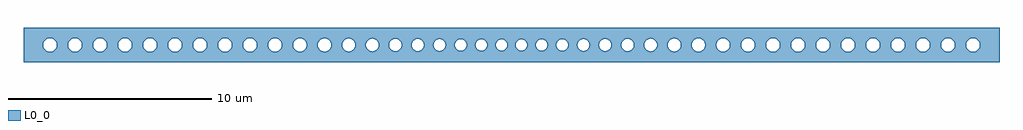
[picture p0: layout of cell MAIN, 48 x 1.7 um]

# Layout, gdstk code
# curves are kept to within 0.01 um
import gdstk
lib = gdstk.Library(unit=1e-6, precision=1e-09)
def P(c, l, *ps):  # polygons
    for p in ps: c.add(gdstk.Polygon(p, *l))
L0_0 = (0, 0)

main = lib.new_cell('MAIN')
P(main, L0_0, [(-23.039,0.005),(-23.022,0.108),(-22.948,0.233),(-22.848,0.308),(-22.722,0.342),(-22.722,0.85),(-24,0.85),(-24,0)],
  [(-22.712,0.342),(-22.598,0.329),(-22.487,0.272),(-22.398,0.17),(-22.357,0.047),(-22.357,0.85),(-22.722,0.85)],
  [(-22.357,-0.047),(-22.398,-0.17),(-22.487,-0.272),(-22.598,-0.329),(-22.722,-0.342),(-22.722,-0.85),(-22.357,-0.85)],
  [(24,0.85),(22.717,0.85),(22.717,0.342),(22.848,0.308),(22.948,0.233),(23.022,0.108),(23.039,0),(24,0)],
  [(-21.529,0.337),(-21.409,0.338),(-21.283,0.29),(-21.189,0.201),(-21.137,0.093),(-21.137,0.85),(-21.539,0.85),(-21.539,0.335)],
  [(-21.137,-0.093),(-21.189,-0.201),(-21.283,-0.29),(-21.42,-0.34),(-21.539,-0.335),(-21.539,-0.85),(-21.137,-0.85)],
  [(-21.809,0.005),(-21.789,0.118),(-21.729,0.221),(-21.637,0.298),(-21.539,0.335),(-21.539,0.85),(-22.357,0.85),(-22.353,0)],
  [(-20.35,0.324),(-20.227,0.343),(-20.095,0.312),(-19.993,0.241),(-19.925,0.142),(-19.925,0.85),(-20.36,0.85),(-20.36,0.32)],
  [(-19.925,-0.142),(-20.008,-0.255),(-20.124,-0.324),(-20.248,-0.343),(-20.36,-0.32),(-20.36,-0.85),(-19.925,-0.85)],
  [(-20.58,0.005),(-20.563,0.108),(-20.515,0.201),(-20.446,0.272),(-20.36,0.32),(-20.36,0.85),(-21.137,0.85),(-21.137,0.093),(-21.124,0)],
  [(-19.164,0.305),(-19.034,0.342),(-18.91,0.329),(-18.799,0.272),(-18.718,0.183),(-18.718,0.85),(-19.173,0.85)],
  [(-18.718,-0.183),(-18.811,-0.281),(-18.925,-0.333),(-19.055,-0.34),(-19.173,-0.3),(-19.173,-0.85),(-18.718,-0.85)],
  [(-19.351,0.005),(-19.338,0.093),(-19.306,0.17),(-19.245,0.248),(-19.173,0.3),(-19.173,0.85),(-19.925,0.85),(-19.925,0.142),(-19.894,0)],
  [(-17.979,0.278),(-17.861,0.333),(-17.732,0.34),(-17.627,0.308),(-17.52,0.225),(-17.52,0.85),(-17.987,0.85)],
  [(-17.52,-0.225),(-17.627,-0.308),(-17.732,-0.34),(-17.861,-0.333),(-17.987,-0.272),(-17.987,-0.85),(-17.52,-0.85)],
  [(-18.121,0.005),(-18.084,0.156),(-17.987,0.272),(-17.987,0.85),(-18.718,0.85),(-18.718,0.183),(-18.679,0.098),(-18.665,0)],
  [(-16.79,0.244),(-16.696,0.31),(-16.559,0.343),(-16.436,0.324),(-16.324,0.258),(-16.324,0.85),(-16.793,0.85)],
  [(-16.324,-0.258),(-16.436,-0.324),(-16.559,-0.343),(-16.696,-0.31),(-16.793,-0.241),(-16.793,-0.85),(-16.324,-0.85)],
  [(-16.892,0.005),(-16.867,0.128),(-16.793,0.241),(-16.793,0.85),(-17.52,0.85),(-17.52,0.225),(-17.456,0.118),(-17.436,0)],
  [(-15.594,0.205),(-15.503,0.29),(-15.372,0.339),(-15.237,0.333),(-15.136,0.29),(-15.136,0.85),(-15.597,0.85)],
  [(-15.136,-0.29),(-15.237,-0.333),(-15.372,-0.339),(-15.503,-0.29),(-15.597,-0.201),(-15.597,-0.85),(-15.136,-0.85)],
  [(-15.662,0.005),(-15.647,0.103),(-15.597,0.201),(-15.597,0.85),(-16.324,0.85),(-16.324,0.258),(-16.239,0.147),(-16.206,0)],
  [(-14.39,0.165),(-14.299,0.272),(-14.188,0.329),(-14.064,0.342),(-13.948,0.312),(-13.948,0.85),(-14.393,0.85)],
  [(-13.948,-0.312),(-14.08,-0.343),(-14.203,-0.324),(-14.311,-0.262),(-14.393,-0.161),(-14.393,-0.85),(-13.948,-0.85)],
  [(-14.433,0.005),(-14.393,0.161),(-14.393,0.85),(-15.136,0.85),(-15.136,0.29),(-15.075,0.241),(-15.014,0.156),(-14.977,0)],
  [(-13.183,0.118),(-13.109,0.237),(-13.012,0.308),(-12.887,0.342),(-12.768,0.33),(-12.768,0.85),(-13.184,0.85)],
  [(-12.768,-0.33),(-12.887,-0.342),(-13.012,-0.308),(-13.109,-0.237),(-13.184,-0.113),(-13.184,-0.85),(-12.768,-0.85)],
  [(-13.203,0.005),(-13.184,0.113),(-13.184,0.85),(-13.948,0.85),(-13.948,0.312),(-13.869,0.262),(-13.803,0.188),(-13.757,0.083),(-13.747,0)],
  [(-11.965,0.072),(-11.92,0.183),(-11.823,0.283),(-11.714,0.332),(-11.584,0.338),(-11.584,0.85),(-11.966,0.85)],
  [(-11.584,-0.338),(-11.714,-0.332),(-11.84,-0.271),(-11.92,-0.183),(-11.966,-0.067),(-11.966,-0.85),(-11.584,-0.85)],
  [(-11.973,0.005),(-11.966,0.85),(-12.768,0.85),(-12.768,0.33),(-12.677,0.29),(-12.595,0.217),(-12.542,0.128),(-12.518,0)],
  [(-10.745,0.021),(-10.713,0.146),(-10.64,0.246),(-10.541,0.311),(-10.409,0.339),(-10.409,0.85),(-10.745,0.85)],
  [(-10.409,-0.339),(-10.541,-0.311),(-10.64,-0.246),(-10.713,-0.146),(-10.745,-0.016),(-10.745,-0.85),(-10.409,-0.85)],
  [(-10.069,0.85),(-10.409,0.85),(-10.409,0.339),(-10.287,0.317),(-10.166,0.239),(-10.101,0.146),(-10.069,0.021)],
  [(-10.069,-0.021),(-10.101,-0.146),(-10.166,-0.239),(-10.287,-0.317),(-10.409,-0.339),(-10.409,-0.85),(-10.069,-0.85)],
  [(-10.745,0.005),(-10.745,0.85),(-11.584,0.85),(-11.584,0.338),(-11.48,0.307),(-11.37,0.221),(-11.31,0.117),(-11.29,0)],
  [(-9.228,0.332),(-9.106,0.322),(-8.991,0.264),(-8.915,0.181),(-8.868,0.062),(-8.868,0.85),(-9.239,0.85),(-9.239,0.331)],
  [(-8.868,-0.062),(-8.915,-0.181),(-8.991,-0.264),(-9.106,-0.322),(-9.239,-0.331),(-9.239,-0.85),(-8.868,-0.85)],
  [(-9.53,0.003),(-9.507,0.123),(-9.448,0.22),(-9.342,0.301),(-9.239,0.331),(-9.239,0.85),(-10.069,0.85),(-10.068,0)],
  [(-8.074,0.321),(-7.952,0.324),(-7.837,0.281),(-7.746,0.2),(-7.69,0.086),(-7.69,0.85),(-8.084,0.85),(-8.084,0.319)],
  [(-7.69,-0.086),(-7.746,-0.2),(-7.842,-0.284),(-7.952,-0.324),(-8.084,-0.319),(-8.084,-0.85),(-7.69,-0.85)],
  [(-8.335,0.003),(-8.317,0.108),(-8.272,0.194),(-8.191,0.272),(-8.084,0.319),(-8.084,0.85),(-8.868,0.85),(-8.862,0)],
  [(-6.93,0.31),(-6.809,0.32),(-6.694,0.285),(-6.609,0.221),(-6.539,0.104),(-6.539,0.85),(-6.939,0.85)],
  [(-6.539,-0.104),(-6.609,-0.221),(-6.694,-0.285),(-6.819,-0.321),(-6.939,-0.307),(-6.939,-0.85),(-6.539,-0.85)],
  [(-7.165,0.003),(-7.147,0.107),(-7.108,0.183),(-7.026,0.265),(-6.939,0.307),(-6.939,0.85),(-7.69,0.85),(-7.679,0)],
  [(-5.809,0.298),(-5.706,0.315),(-5.58,0.287),(-5.479,0.214),(-5.414,0.108),(-5.414,0.85),(-5.819,0.85),(-5.819,0.295)],
  [(-5.414,-0.108),(-5.479,-0.214),(-5.58,-0.287),(-5.706,-0.315),(-5.819,-0.295),(-5.819,-0.85),(-5.414,-0.85)],
  [(-6.024,0.002),(-6.014,0.082),(-5.973,0.173),(-5.91,0.243),(-5.819,0.295),(-5.819,0.85),(-6.539,0.85),(-6.539,0.104),(-6.522,0)],
  [(-4.706,0.291),(-4.604,0.308),(-4.484,0.282),(-4.377,0.204),(-4.319,0.106),(-4.319,0.85),(-4.716,0.85),(-4.716,0.288)],
  [(-4.319,-0.106),(-4.377,-0.204),(-4.484,-0.282),(-4.604,-0.308),(-4.716,-0.288),(-4.716,-0.85),(-4.319,-0.85)],
  [(-4.916,0.002),(-4.901,0.095),(-4.859,0.178),(-4.809,0.233),(-4.716,0.288),(-4.716,0.85),(-5.414,0.85),(-5.414,0.108),(-5.395,0)],
  [(-3.627,0.287),(-3.511,0.3),(-3.394,0.265),(-3.307,0.194),(-3.25,0.087),(-3.25,0.85),(-3.636,0.85)],
  [(-3.25,-0.087),(-3.307,-0.194),(-3.394,-0.265),(-3.511,-0.3),(-3.636,-0.284),(-3.636,-0.85),(-3.25,-0.85)],
  [(-3.839,0.005),(-3.826,0.087),(-3.786,0.171),(-3.73,0.232),(-3.636,0.284),(-3.636,0.85),(-4.319,0.85),(-4.319,0.106),(-4.3,0)],
  [(-2.566,0.287),(-2.445,0.291),(-2.346,0.254),(-2.26,0.176),(-2.21,0.067),(-2.21,0.85),(-2.575,0.85)],
  [(-2.21,-0.067),(-2.26,-0.176),(-2.346,-0.254),(-2.445,-0.291),(-2.575,-0.285),(-2.575,-0.85),(-2.21,-0.85)],
  [(-2.792,0.002),(-2.776,0.097),(-2.727,0.186),(-2.667,0.242),(-2.575,0.285),(-2.575,0.85),(-3.25,0.85),(-3.25,0.087),(-3.237,0)],
  [(-1.526,0.287),(-1.412,0.282),(-1.308,0.232),(-1.232,0.147),(-1.194,0.034),(-1.194,0.85),(-1.535,0.85)],
  [(-1.194,-0.034),(-1.232,-0.147),(-1.32,-0.241),(-1.43,-0.286),(-1.535,-0.286),(-1.535,-0.85),(-1.194,-0.85)],
  [(-1.773,0.005),(-1.753,0.108),(-1.703,0.19),(-1.63,0.251),(-1.535,0.286),(-1.535,0.85),(-2.21,0.85),(-2.202,0)],
  [(-0.497,0.287),(-0.385,0.268),(-0.292,0.209),(-0.221,0.103),(-0.202,0),(-0.202,0.85),(-0.506,0.85)],
  [(-0.202,0),(-0.221,-0.103),(-0.292,-0.209),(-0.385,-0.268),(-0.506,-0.287),(-0.506,-0.85),(-0.202,-0.85)],
  [(0.202,0.005),(0.221,0.103),(0.292,0.209),(0.385,0.268),(0.506,0.287),(0.506,0.85),(-0.202,0.85),(-0.202,0)],
  [(0.506,-0.287),(0.385,-0.268),(0.292,-0.209),(0.221,-0.103),(0.202,0),(-0.202,0),(-0.202,-0.85),(0.506,-0.85)],
  [(-0.777,0.005),(-0.755,0.112),(-0.704,0.192),(-0.617,0.258),(-0.506,0.287),(-0.506,0.85),(-1.194,0.85),(-1.192,0)],
  [(1.195,0.038),(1.232,0.147),(1.32,0.241),(1.43,0.286),(1.535,0.286),(1.535,0.85),(1.194,0.85)],
  [(1.535,-0.286),(1.43,-0.286),(1.32,-0.241),(1.232,-0.147),(1.194,-0.034),(1.194,-0.85),(1.535,-0.85)],
  [(1.192,0.005),(1.194,0.85),(0.506,0.85),(0.506,0.287),(0.617,0.258),(0.704,0.192),(0.755,0.112),(0.777,0)],
  [(2.209,0.065),(2.253,0.166),(2.348,0.255),(2.467,0.294),(2.573,0.285),(2.573,0.85),(2.208,0.85)],
  [(2.573,-0.285),(2.467,-0.294),(2.348,-0.255),(2.253,-0.166),(2.208,-0.06),(2.208,-0.85),(2.573,-0.85)],
  [(2.202,0.002),(2.208,0.85),(1.535,0.85),(1.535,0.286),(1.63,0.251),(1.703,0.19),(1.753,0.108),(1.773,0)],
  [(3.251,0.092),(3.307,0.194),(3.394,0.265),(3.511,0.3),(3.636,0.284),(3.636,0.85),(3.25,0.85)],
  [(3.636,-0.284),(3.511,-0.3),(3.394,-0.265),(3.307,-0.194),(3.25,-0.087),(3.25,-0.85),(3.636,-0.85)],
  [(3.237,0.005),(3.25,0.087),(3.25,0.85),(2.573,0.85),(2.573,0.285),(2.661,0.246),(2.725,0.188),(2.777,0.095),(2.792,0)],
  [(4.319,0.104),(4.382,0.209),(4.482,0.281),(4.607,0.308),(4.713,0.289),(4.713,0.85),(4.317,0.85)],
  [(4.713,-0.289),(4.607,-0.308),(4.482,-0.281),(4.382,-0.209),(4.317,-0.099),(4.317,-0.85),(4.713,-0.85)],
  [(4.3,0.002),(4.317,0.099),(4.317,0.85),(3.636,0.85),(3.636,0.284),(3.73,0.232),(3.786,0.171),(3.826,0.087),(3.839,0)],
  [(5.415,0.11),(5.477,0.212),(5.582,0.288),(5.709,0.315),(5.817,0.296),(5.817,0.85),(5.414,0.85)],
  [(5.817,-0.296),(5.709,-0.315),(5.582,-0.288),(5.477,-0.212),(5.414,-0.105),(5.414,-0.85),(5.817,-0.85)],
  [(5.395,0.002),(5.414,0.105),(5.414,0.85),(4.713,0.85),(4.713,0.289),(4.807,0.235),(4.863,0.172),(4.903,0.088),(4.916,0)],
  [(6.538,0.102),(6.604,0.215),(6.696,0.286),(6.822,0.321),(6.937,0.308),(6.937,0.85),(6.537,0.85)],
  [(6.937,-0.308),(6.822,-0.321),(6.696,-0.286),(6.604,-0.215),(6.537,-0.097),(6.537,-0.85),(6.937,-0.85)],
  [(6.522,0.003),(6.537,0.097),(6.537,0.85),(5.817,0.85),(5.817,0.296),(5.908,0.245),(5.969,0.179),(6.012,0.089),(6.024,0)],
  [(7.691,0.088),(7.739,0.19),(7.835,0.28),(7.959,0.325),(8.081,0.32),(8.081,0.85),(7.689,0.85)],
  [(8.081,-0.32),(7.959,-0.325),(7.835,-0.28),(7.739,-0.19),(7.689,-0.083),(7.689,-0.85),(8.081,-0.85)],
  [(7.679,0.003),(7.689,0.85),(6.937,0.85),(6.937,0.308),(7.028,0.264),(7.097,0.198),(7.151,0.095),(7.165,0)],
  [(8.868,0.059),(8.911,0.174),(9.006,0.275),(9.113,0.324),(9.236,0.332),(9.236,0.85),(8.867,0.85)],
  [(9.236,-0.332),(9.113,-0.324),(8.998,-0.269),(8.903,-0.161),(8.867,-0.054),(8.867,-0.85),(9.236,-0.85)],
  [(8.862,0.003),(8.867,0.85),(8.081,0.85),(8.081,0.32),(8.185,0.276),(8.261,0.208),(8.321,0.096),(8.335,0)],
  [(10.069,0.026),(10.101,0.146),(10.181,0.253),(10.292,0.319),(10.409,0.339),(10.409,0.85),(10.069,0.85)],
  [(10.409,-0.339),(10.287,-0.317),(10.166,-0.239),(10.101,-0.146),(10.069,-0.021),(10.069,-0.85),(10.409,-0.85)],
  [(10.745,0.85),(10.409,0.85),(10.409,0.339),(10.541,0.311),(10.64,0.246),(10.713,0.146),(10.745,0.021)],
  [(10.745,-0.021),(10.713,-0.146),(10.64,-0.246),(10.541,-0.311),(10.409,-0.339),(10.409,-0.85),(10.745,-0.85)],
  [(10.068,0.005),(10.069,0.85),(9.236,0.85),(9.236,0.332),(9.34,0.302),(9.446,0.222),(9.508,0.121),(9.53,0)],
  [(11.595,0.34),(11.714,0.332),(11.84,0.271),(11.92,0.183),(11.966,0.067),(11.966,0.85),(11.584,0.85),(11.584,0.338)],
  [(11.966,-0.067),(11.92,-0.183),(11.84,-0.271),(11.714,-0.332),(11.584,-0.338),(11.584,-0.85),(11.966,-0.85)],
  [(11.29,0.005),(11.31,0.117),(11.37,0.221),(11.48,0.307),(11.584,0.338),(11.584,0.85),(10.745,0.85),(10.745,0)],
  [(12.778,0.333),(12.908,0.34),(13.031,0.298),(13.116,0.229),(13.183,0.118),(13.183,0.85),(12.768,0.85),(12.768,0.33)],
  [(13.183,-0.118),(13.109,-0.237),(13.012,-0.308),(12.887,-0.342),(12.768,-0.33),(12.768,-0.85),(13.183,-0.85)],
  [(12.518,0.005),(12.542,0.128),(12.595,0.217),(12.677,0.29),(12.768,0.33),(12.768,0.85),(11.966,0.85),(11.973,0)],
  [(13.958,0.316),(14.08,0.343),(14.203,0.324),(14.311,0.262),(14.393,0.161),(14.393,0.85),(13.948,0.85),(13.948,0.312)],
  [(14.393,-0.161),(14.311,-0.262),(14.203,-0.324),(14.08,-0.343),(13.948,-0.312),(13.948,-0.85),(14.393,-0.85)],
  [(13.747,0.005),(13.766,0.113),(13.803,0.188),(13.869,0.262),(13.948,0.312),(13.948,0.85),(13.183,0.85),(13.183,0.118),(13.203,0)],
  [(15.145,0.295),(15.273,0.34),(15.402,0.333),(15.503,0.29),(15.594,0.205),(15.594,0.85),(15.136,0.85)],
  [(15.594,-0.205),(15.503,-0.29),(15.372,-0.339),(15.237,-0.333),(15.136,-0.29),(15.136,-0.85),(15.594,-0.85)],
  [(14.977,0.005),(14.988,0.088),(15.024,0.174),(15.136,0.29),(15.136,0.85),(14.393,0.85),(14.393,0.161),(14.423,0.083),(14.433,0)],
  [(16.332,0.265),(16.436,0.324),(16.559,0.343),(16.696,0.31),(16.793,0.241),(16.793,0.85),(16.324,0.85)],
  [(16.793,-0.241),(16.696,-0.31),(16.559,-0.343),(16.436,-0.324),(16.324,-0.258),(16.324,-0.85),(16.793,-0.85)],
  [(16.206,0.005),(16.239,0.147),(16.324,0.258),(16.324,0.85),(15.594,0.85),(15.594,0.205),(15.647,0.103),(15.662,0)],
  [(17.523,0.229),(17.627,0.308),(17.732,0.34),(17.861,0.333),(17.983,0.275),(17.983,0.85),(17.52,0.85)],
  [(17.983,-0.275),(17.861,-0.333),(17.732,-0.34),(17.627,-0.308),(17.52,-0.225),(17.52,-0.85),(17.983,-0.85)],
  [(17.436,0.005),(17.456,0.118),(17.52,0.225),(17.52,0.85),(16.793,0.85),(16.793,0.241),(16.867,0.128),(16.892,0)],
  [(18.721,0.188),(18.811,0.281),(18.925,0.333),(19.055,0.34),(19.173,0.3),(19.173,0.85),(18.718,0.85)],
  [(19.173,-0.3),(19.055,-0.34),(18.925,-0.333),(18.811,-0.281),(18.718,-0.183),(18.718,-0.85),(19.173,-0.85)],
  [(18.665,0.005),(18.679,0.098),(18.718,0.183),(18.718,0.85),(17.983,0.85),(17.983,0.275),(18.084,0.156),(18.121,0)],
  [(19.927,0.147),(20.008,0.255),(20.124,0.324),(20.248,0.343),(20.355,0.322),(20.355,0.85),(19.925,0.85)],
  [(20.355,-0.322),(20.227,-0.343),(20.095,-0.312),(19.993,-0.241),(19.925,-0.142),(19.925,-0.85),(20.355,-0.85)],
  [(19.895,0.005),(19.925,0.142),(19.925,0.85),(19.173,0.85),(19.173,0.3),(19.245,0.248),(19.306,0.17),(19.342,0.078),(19.351,0)],
  [(21.138,0.098),(21.198,0.213),(21.283,0.29),(21.42,0.34),(21.539,0.335),(21.539,0.85),(21.137,0.85)],
  [(21.539,-0.335),(21.42,-0.34),(21.283,-0.29),(21.189,-0.201),(21.137,-0.093),(21.137,-0.85),(21.539,-0.85)],
  [(21.124,0.005),(21.137,0.093),(21.137,0.85),(20.355,0.85),(20.355,0.322),(20.446,0.272),(20.515,0.201),(20.563,0.108),(20.58,0)],
  [(22.357,0.052),(22.398,0.17),(22.487,0.272),(22.598,0.329),(22.717,0.342),(22.717,0.85),(22.357,0.85)],
  [(22.717,-0.342),(22.598,-0.329),(22.487,-0.272),(22.398,-0.17),(22.357,-0.047),(22.357,-0.85),(22.717,-0.85)],
  [(-22.722,-0.342),(-22.848,-0.308),(-22.948,-0.233),(-23.022,-0.108),(-23.039,0),(-24,0),(-24,-0.85),(-22.722,-0.85)],
  [(24,0),(23.039,0),(23.022,-0.108),(22.948,-0.233),(22.848,-0.308),(22.717,-0.342),(22.717,-0.85),(24,-0.85)],
  [(-21.539,-0.335),(-21.65,-0.29),(-21.742,-0.205),(-21.794,-0.103),(-21.81,0),(-22.353,0),(-22.357,-0.85),(-21.539,-0.85)],
  [(-20.36,-0.32),(-20.459,-0.262),(-20.524,-0.188),(-20.569,-0.088),(-20.58,0),(-21.124,0),(-21.137,-0.093),(-21.137,-0.85),(-20.36,-0.85)],
  [(-19.173,-0.3),(-19.245,-0.248),(-19.306,-0.17),(-19.342,-0.078),(-19.351,0),(-19.894,0),(-19.925,-0.142),(-19.925,-0.85),(-19.173,-0.85)],
  [(-17.987,-0.272),(-18.084,-0.156),(-18.121,0),(-18.665,0),(-18.679,-0.098),(-18.718,-0.183),(-18.718,-0.85),(-17.987,-0.85)],
  [(-16.793,-0.241),(-16.867,-0.128),(-16.892,0),(-17.436,0),(-17.456,-0.118),(-17.52,-0.225),(-17.52,-0.85),(-16.793,-0.85)],
  [(-15.597,-0.201),(-15.647,-0.103),(-15.662,0),(-16.206,0),(-16.239,-0.147),(-16.324,-0.258),(-16.324,-0.85),(-15.597,-0.85)],
  [(-14.393,-0.161),(-14.423,-0.083),(-14.433,0),(-14.977,0),(-15.014,-0.156),(-15.075,-0.241),(-15.136,-0.29),(-15.136,-0.85),(-14.393,-0.85)],
  [(-13.184,-0.113),(-13.203,0),(-13.747,0),(-13.757,-0.083),(-13.803,-0.188),(-13.869,-0.262),(-13.948,-0.312),(-13.948,-0.85),(-13.184,-0.85)],
  [(-11.966,-0.067),(-11.973,0),(-12.518,0),(-12.542,-0.128),(-12.595,-0.217),(-12.677,-0.29),(-12.768,-0.33),(-12.768,-0.85),(-11.966,-0.85)],
  [(-10.745,-0.016),(-10.745,0),(-11.29,0),(-11.31,-0.117),(-11.37,-0.221),(-11.48,-0.307),(-11.584,-0.338),(-11.584,-0.85),(-10.745,-0.85)],
  [(-9.239,-0.331),(-9.342,-0.301),(-9.448,-0.22),(-9.507,-0.123),(-9.53,0),(-10.068,0),(-10.069,-0.85),(-9.239,-0.85)],
  [(-8.084,-0.319),(-8.191,-0.272),(-8.272,-0.194),(-8.317,-0.108),(-8.335,0),(-8.862,0),(-8.868,-0.85),(-8.084,-0.85)],
  [(-6.939,-0.307),(-7.026,-0.265),(-7.108,-0.183),(-7.147,-0.107),(-7.165,0),(-7.679,0),(-7.69,-0.85),(-6.939,-0.85)],
  [(-5.819,-0.295),(-5.91,-0.243),(-5.973,-0.173),(-6.014,-0.082),(-6.024,0),(-6.522,0),(-6.539,-0.104),(-6.539,-0.85),(-5.819,-0.85)],
  [(-4.716,-0.288),(-4.809,-0.233),(-4.859,-0.178),(-4.901,-0.095),(-4.916,0),(-5.395,0),(-5.414,-0.108),(-5.414,-0.85),(-4.716,-0.85)],
  [(-3.636,-0.284),(-3.73,-0.232),(-3.786,-0.171),(-3.826,-0.087),(-3.839,0),(-4.3,0),(-4.319,-0.106),(-4.319,-0.85),(-3.636,-0.85)],
  [(-2.575,-0.285),(-2.667,-0.242),(-2.727,-0.186),(-2.776,-0.097),(-2.792,0),(-3.237,0),(-3.25,-0.087),(-3.25,-0.85),(-2.575,-0.85)],
  [(-1.535,-0.286),(-1.63,-0.251),(-1.703,-0.19),(-1.753,-0.108),(-1.773,0),(-2.202,0),(-2.21,-0.85),(-1.535,-0.85)],
  [(-0.506,-0.287),(-0.617,-0.258),(-0.704,-0.192),(-0.755,-0.112),(-0.777,0),(-1.192,0),(-1.194,-0.85),(-0.506,-0.85)],
  [(1.194,-0.034),(1.192,0),(0.777,0),(0.755,-0.112),(0.704,-0.192),(0.617,-0.258),(0.506,-0.287),(0.506,-0.85),(1.194,-0.85)],
  [(2.208,-0.06),(2.202,0),(1.773,0),(1.753,-0.108),(1.703,-0.19),(1.63,-0.251),(1.535,-0.286),(1.535,-0.85),(2.208,-0.85)],
  [(3.25,-0.087),(3.237,0),(2.792,0),(2.777,-0.095),(2.725,-0.188),(2.661,-0.246),(2.573,-0.285),(2.573,-0.85),(3.25,-0.85)],
  [(4.317,-0.099),(4.3,0),(3.839,0),(3.826,-0.087),(3.786,-0.171),(3.73,-0.232),(3.636,-0.284),(3.636,-0.85),(4.317,-0.85)],
  [(5.414,-0.105),(5.395,0),(4.916,0),(4.903,-0.088),(4.863,-0.172),(4.807,-0.235),(4.713,-0.289),(4.713,-0.85),(5.414,-0.85)],
  [(6.537,-0.097),(6.522,0),(6.024,0),(6.012,-0.089),(5.969,-0.179),(5.908,-0.245),(5.817,-0.296),(5.817,-0.85),(6.537,-0.85)],
  [(7.689,-0.083),(7.679,0),(7.165,0),(7.151,-0.095),(7.097,-0.198),(7.028,-0.264),(6.937,-0.308),(6.937,-0.85),(7.689,-0.85)],
  [(8.867,-0.054),(8.862,0),(8.335,0),(8.321,-0.096),(8.261,-0.208),(8.185,-0.276),(8.081,-0.32),(8.081,-0.85),(8.867,-0.85)],
  [(10.069,-0.021),(10.068,0),(9.53,0),(9.508,-0.121),(9.446,-0.222),(9.34,-0.302),(9.236,-0.332),(9.236,-0.85),(10.069,-0.85)],
  [(11.584,-0.338),(11.48,-0.307),(11.37,-0.221),(11.31,-0.117),(11.29,0),(10.745,0),(10.745,-0.85),(11.584,-0.85)],
  [(12.768,-0.33),(12.677,-0.29),(12.595,-0.217),(12.542,-0.128),(12.518,0),(11.973,0),(11.966,-0.85),(12.768,-0.85)],
  [(13.948,-0.312),(13.869,-0.262),(13.803,-0.188),(13.757,-0.083),(13.747,0),(13.203,0),(13.183,-0.118),(13.183,-0.85),(13.948,-0.85)],
  [(15.136,-0.29),(15.075,-0.241),(15.014,-0.156),(14.977,0),(14.433,0),(14.423,-0.083),(14.393,-0.161),(14.393,-0.85),(15.136,-0.85)],
  [(16.324,-0.258),(16.239,-0.147),(16.206,0),(15.662,0),(15.647,-0.103),(15.594,-0.205),(15.594,-0.85),(16.324,-0.85)],
  [(17.52,-0.225),(17.456,-0.118),(17.436,0),(16.892,0),(16.867,-0.128),(16.793,-0.241),(16.793,-0.85),(17.52,-0.85)],
  [(18.718,-0.183),(18.679,-0.098),(18.665,0),(18.121,0),(18.084,-0.156),(17.983,-0.275),(17.983,-0.85),(18.718,-0.85)],
  [(19.925,-0.142),(19.894,0),(19.351,0),(19.342,-0.078),(19.306,-0.17),(19.245,-0.248),(19.173,-0.3),(19.173,-0.85),(19.925,-0.85)],
  [(21.137,-0.093),(21.124,0),(20.58,0),(20.563,-0.108),(20.515,-0.201),(20.446,-0.272),(20.355,-0.322),(20.355,-0.85),(21.137,-0.85)],
  [(22.357,-0.047),(22.353,0),(21.81,0),(21.794,-0.103),(21.742,-0.205),(21.65,-0.29),(21.539,-0.335),(21.539,-0.85),(22.357,-0.85)],
  [(22.353,0.005),(22.357,0.85),(21.539,0.85),(21.539,0.335),(21.65,0.29),(21.742,0.205),(21.794,0.103),(21.81,0)])

lib.write_gds('MAIN.gds')
